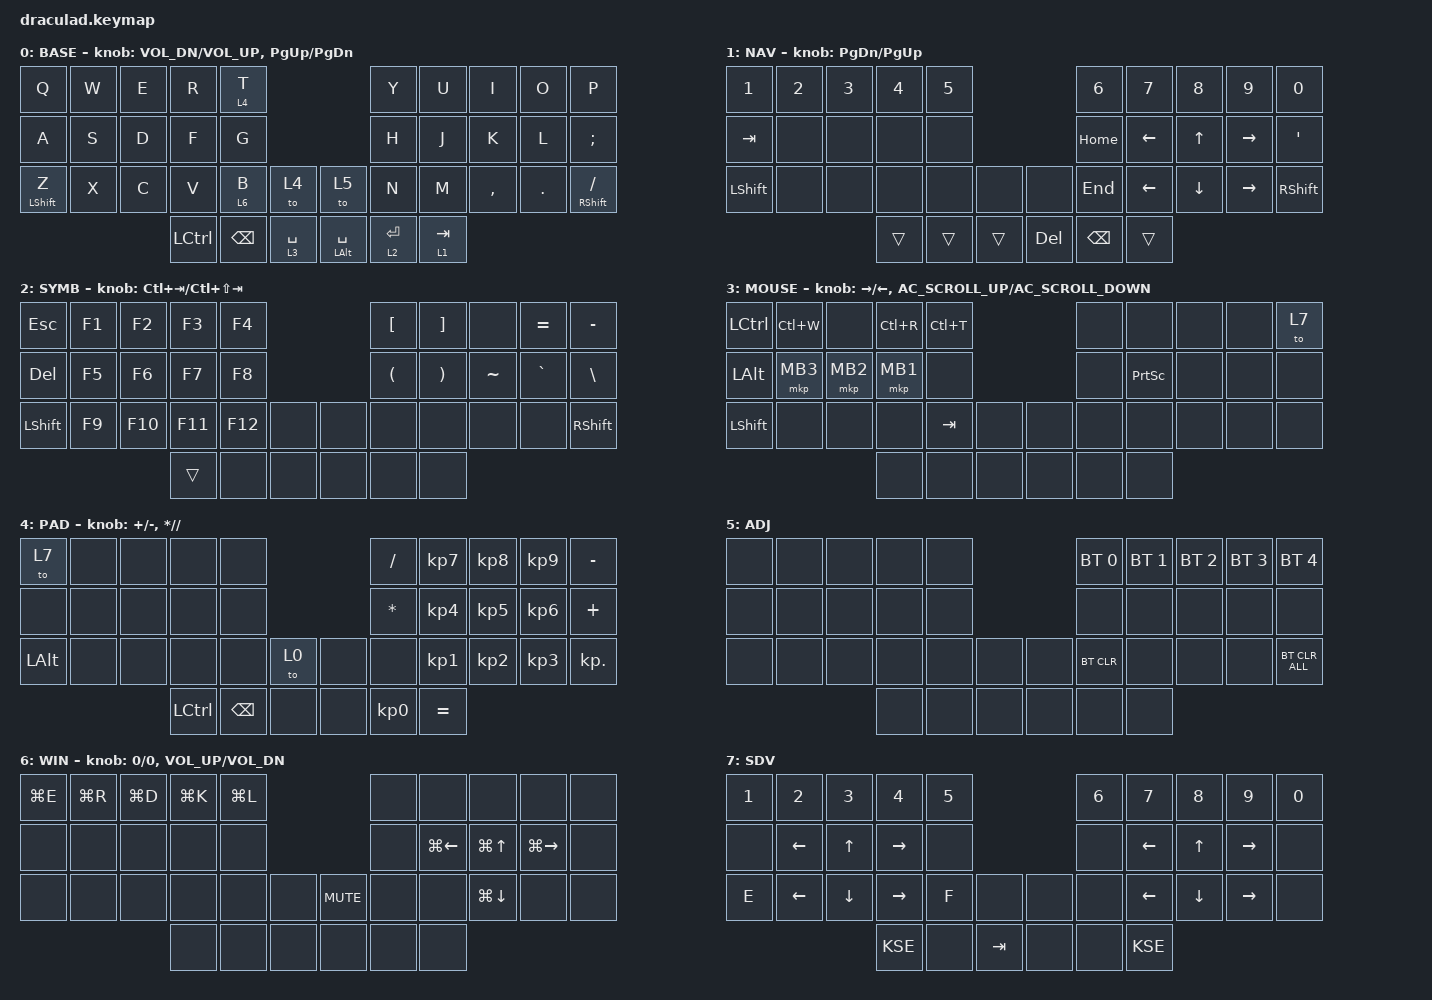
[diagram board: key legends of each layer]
#include <dt-bindings/zmk/mouse.h>
#include <behaviors.dtsi>
#include <dt-bindings/zmk/bt.h>
#include <dt-bindings/zmk/keys.h>
#include <dt-bindings/zmk/pointing.h>

/ {
    behaviors {
        gqt: global-quick-tap {
            compatible = "zmk,behavior-hold-tap";
            label = "GLOBAL_QUICK_TAP";
            #binding-cells = <2>;
            flavor = "tap-preferred";
            tapping-term-ms = <200>;
            quick-tap-ms = <125>;
            global-quick-tap;
            bindings = <&kp>, <&kp>;
        };
    };

    macros {
        KSE: KSE {
            compatible = "zmk,behavior-macro";
            #binding-cells = <0>;
            bindings = <&kp LA(TAB)>, <&macro_wait_time 20>, <&to 0>;

            label = "KSE";
        };
    };

    keymap {
        compatible = "zmk,keymap";

        BASE {
            bindings = <
&kp Q             &kp W  &kp E  &kp R      &lt 4 T                                       &kp Y        &kp U      &kp I      &kp O    &kp P
&kp A             &kp S  &kp D  &kp F      &kp G                                         &kp H        &kp J      &kp K      &kp L    &kp SEMI
&mt LEFT_SHIFT Z  &kp X  &kp C  &kp V      &lt 6 B        &to 4          &to 5           &kp N        &kp M      &kp COMMA  &kp DOT  &mt RIGHT_SHIFT FSLH
                                &kp LCTRL  &kp BACKSPACE  &lt 3 SPACE    &mt LALT SPACE  &lt 2 ENTER  &lt 1 TAB
            >;

            sensor-bindings =
                <&inc_dec_kp C_VOL_DN C_VOL_UP>,
                <&inc_dec_kp PAGE_UP PAGE_DOWN>;
        };

        NAV {
            bindings = <
&kp N1     &kp N2  &kp N3  &kp N4  &kp N5                     &kp N6    &kp N7    &kp N8    &kp N9     &kp N0
&kp TAB    &none   &none   &none   &none                      &kp HOME  &kp LEFT  &kp UP    &kp RIGHT  &kp SINGLE_QUOTE
&kp LSHFT  &none   &none   &none   &none   &none     &none    &kp END   &kp LEFT  &kp DOWN  &kp RIGHT  &kp RSHFT
                           &trans  &trans  &trans    &kp DEL  &kp BSPC  &trans
            >;

            sensor-bindings = <&inc_dec_kp PG_DN PG_UP>;
        };

        SYMB {
            bindings = <
&kp ESC     &kp F1  &kp F2   &kp F3   &kp F4                   &kp LBKT              &kp RBKT               &none      &kp EQUAL  &kp MINUS
&kp DEL     &kp F5  &kp F6   &kp F7   &kp F8                   &kp LEFT_PARENTHESIS  &kp RIGHT_PARENTHESIS  &kp TILDE  &kp GRAVE  &kp BSLH
&kp LSHIFT  &kp F9  &kp F10  &kp F11  &kp F12  &none    &none  &none                 &none                  &none      &none      &kp RSHFT
                             &trans   &none    &none    &none  &none                 &none
            >;

            sensor-bindings = <&inc_dec_kp LC(TAB) LC(LS(TAB))>;
        };

        MOUSE {
            bindings = <
&kp LCTRL     &kp LC(W)  &none     &kp LC(R)  &kp LC(T)                  &none  &none      &none  &none  &to 7
&kp LEFT_ALT  &mkp MB3   &mkp MB2  &mkp MB1   &none                      &none  &kp PSCRN  &none  &none  &none
&kp LSHIFT    &none      &none     &none      &kp TAB    &none    &none  &none  &none      &none  &none  &none
                                   &none      &none      &none    &none  &none  &none
            >;

            sensor-bindings =
                <&inc_dec_kp RIGHT LEFT>,
                <&inc_dec_kp C_AC_SCROLL_UP C_AC_SCROLL_DOWN>;
        };

        PAD {
            bindings = <
&to 7     &none  &none  &none      &none                          &kp SLASH        &kp KP_NUMBER_7  &kp KP_NUMBER_8  &kp KP_NUMBER_9  &kp MINUS
&none     &none  &none  &none      &none                          &kp ASTERISK     &kp KP_NUMBER_4  &kp KP_NUMBER_5  &kp KP_NUMBER_6  &kp PLUS
&kp LALT  &none  &none  &none      &none          &to 0    &none  &none            &kp KP_NUMBER_1  &kp KP_NUMBER_2  &kp KP_NUMBER_3  &kp KP_DOT
                        &kp LCTRL  &kp BACKSPACE  &none    &none  &kp KP_NUMBER_0  &kp EQUAL
            >;

            sensor-bindings =
                <&inc_dec_kp PLUS MINUS>,
                <&inc_dec_kp ASTERISK SLASH>;
        };

        ADJ {
            bindings = <
&none  &none  &none  &none  &none                  &bt BT_SEL 0  &bt BT_SEL 1  &bt BT_SEL 2  &bt BT_SEL 3  &bt BT_SEL 4
&none  &none  &none  &none  &none                  &none         &none         &none         &none         &none
&none  &none  &none  &none  &none  &none    &none  &bt BT_CLR    &none         &none         &none         &bt BT_CLR_ALL
                     &none  &none  &none    &none  &none         &none
            >;
        };

        WIN {
            bindings = <
&kp LG(E)  &kp LG(R)  &kp LG(D)  &kp LG(K)  &kp LG(L)                       &none  &none         &none         &none          &none
&none      &none      &none      &none      &none                           &none  &kp LG(LEFT)  &kp LG(UP)    &kp LG(RIGHT)  &none
&none      &none      &none      &none      &none      &none    &kp C_MUTE  &none  &none         &kp LG(DOWN)  &none          &none
                                 &none      &none      &none    &none       &none  &none
            >;

            sensor-bindings =
                <&inc_dec_kp 0 0>,
                <&inc_dec_kp C_VOL_UP C_VOL_DN>;
        };

        SDV {
            bindings = <
&kp N1  &kp N2    &kp N3    &kp N4     &kp N5                    &kp N6  &kp N7    &kp N8    &kp N9     &kp N0
&none   &kp LEFT  &kp UP    &kp RIGHT  &none                     &none   &kp LEFT  &kp UP    &kp RIGHT  &none
&kp E   &kp LEFT  &kp DOWN  &kp RIGHT  &kp F   &none      &none  &none   &kp LEFT  &kp DOWN  &kp RIGHT  &none
                            &KSE       &none   &kp TAB    &none  &none   &KSE
            >;
        };
    };
};
